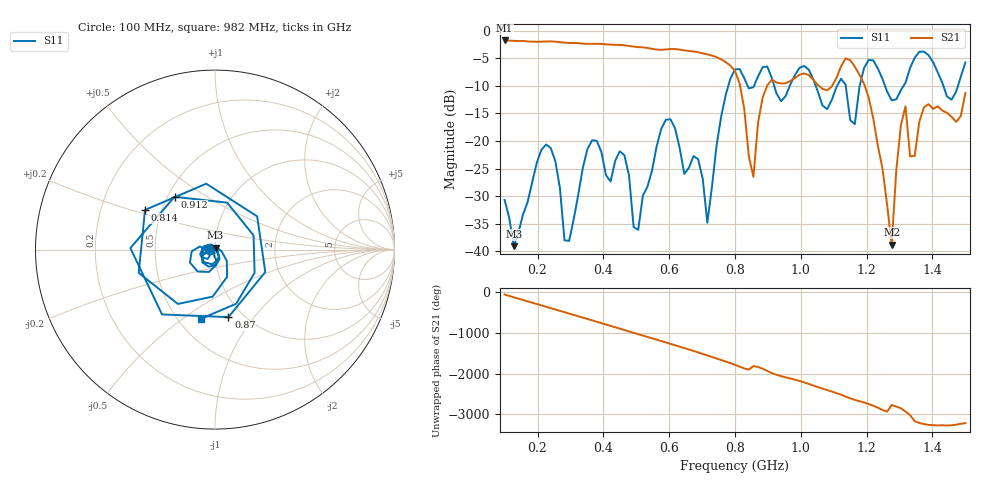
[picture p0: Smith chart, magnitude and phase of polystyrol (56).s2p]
! NanoVNA-App
! Date: 2025-09-25 15:30:20
! Start: 100MHz Stop: 1,5GHz Points: 101
! S-Parameter data: F S11 S21 S12 S22
# Hz S RI R 50
!  Frequency  S11_Real  S11_Imag  S21_Real  S21_Imag  S12_Real  S12_Imag  S22_Real  S22_Imag
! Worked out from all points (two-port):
!   101 points, 100 MHz to 1.5 GHz, reference 50 ohm
!   highest |S21| = -1.80 dB at 100 MHz (marker M1); lowest = -38.8 dB at 1.276 GHz (marker M2)
!   |S21| within 3 dB of the highest: start of sweep to 742.8 MHz
!   lowest |S11| = -39.1 dB at 128 MHz (marker M3), VSWR 1.02, Z = 50.3 + j1.07 ohm
!   |S11| at or under -10 dB: start of sweep to 779.8 MHz; 1.045 GHz to 1.11 GHz (65.37 MHz wide, 6.07 % of centre); 1.256 GHz to 1.312 GHz (56.62 MHz wide, 4.41 % of centre) (the widest 3 of 7)
!   S12 and S22 are empty: the file has one direction only
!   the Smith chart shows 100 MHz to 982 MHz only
!   S11 on the Smith chart (normalised r, x): 100 MHz: 0.94, -0.01; 814 MHz: 0.40, +0.22; 870 MHz: 0.85, -0.75; 912 MHz: 0.54, +0.37; 982 MHz: 0.64, -0.59
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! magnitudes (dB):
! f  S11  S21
! 100 MHz  -30.7  -1.8
! 128 MHz  -39.1  -1.9
! 212 MHz  -21.6  -2.0
! 282 MHz  -38.0  -2.2
! 338 MHz  -24.8  -2.4
! 464 MHz  -22.6  -2.7
! 506 MHz  -36.1  -3.0
! 576 MHz  -17.8  -3.5
! 716 MHz  -34.8  -4.3
! 800 MHz  -7.0  -7.4
! 814 MHz  -7.0  -9.6
! 856 MHz  -10.3  -26.5
! 870 MHz  -8.3  -16.7
! 912 MHz  -8.6  -8.9
! 982 MHz  -8.1  -8.6
! 1.038 GHz  -8.9  -8.9
! 1.164 GHz  -17.0  -6.5
! 1.192 GHz  -6.8  -9.7
! 1.276 GHz  -12.6  -38.8
! 1.318 GHz  -9.5  -13.7
! 1.346 GHz  -4.9  -22.7
! 1.5 GHz  -5.8  -11.3
